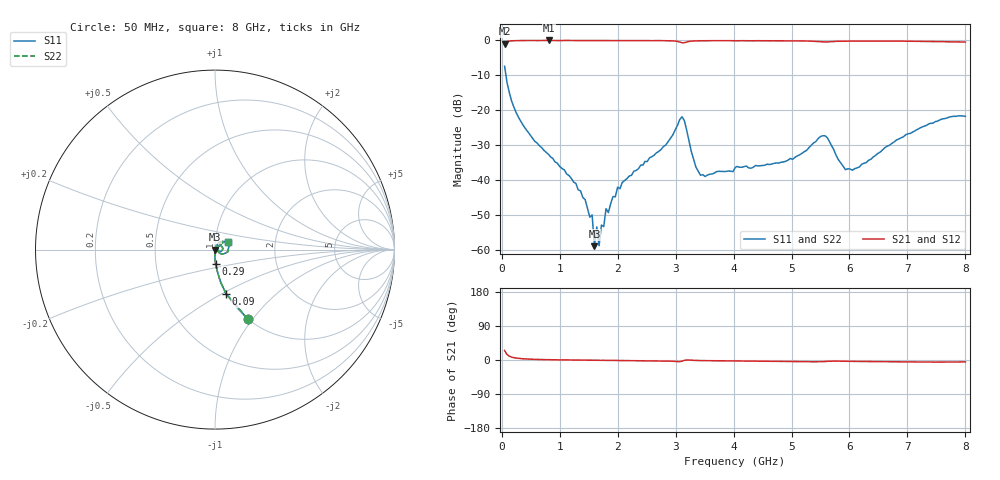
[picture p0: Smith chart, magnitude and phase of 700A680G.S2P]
!  American Technical Ceramics  Date:  3/13/98
!  One Norden Lane
!  Huntington Station,  NY.  11746-2102
!  Tel:  (516) 547-5700  Fax:  (516) 547-5748
!  Part Number  700A680G
!  Description: Porcelain, High Q, Low ESR
!  Application: Bypass, Coupling, Timing, Feedback
!  Tuning, Impedance Match, Blocking
# GHZ S DB R 50
! Freq  |S11|  S11 Ph  |S21|  S21 Ph  |S12|  S12 Ph  |S22|  S22 Ph
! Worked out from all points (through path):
!   201 points, 50 MHz to 8 GHz, reference 50 ohm
!   highest |S21| = 0.00 dB at 810 MHz (marker M1); lowest = -0.9 dB at 50 MHz (marker M2)
!   group delay of S21, straight-line fit = 3.06 ps
!   lowest |S11| = -58.8 dB at 1.6 GHz (marker M3), VSWR 1.00, Z = 50.1 - j0.0763 ohm
!   |S11| at or under -10 dB: 73.3 MHz to end of sweep
!   |S22| runs from -58.8 to -7.4 dB; largest |S21 - S12| = 0
!   S11 on the Smith chart (normalised r, x): 50 MHz: 1.00, -0.94; 90 MHz: 0.99, -0.53; 290 MHz: 0.99, -0.16; 8 GHz: 1.15, +0.10
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0.05  -7.39 -64.8  -0.90 25.0  -0.90 25.0  -7.39 -64.8
0.09  -11.87 -75.8  -0.31 14.6  -0.31 14.6  -11.87 -75.8
0.29  -21.97 -87.4  -0.04 4.4  -0.04 4.4  -21.97 -87.4
0.81  -32.60 -92.5  0.00 0.9  0.00 0.9  -32.60 -92.5
1.4  -44.90 -85.8  -0.02 -0.3  -0.02 -0.3  -44.90 -85.8
1.56  -49.89 -74.8  0.00 -0.7  0.00 -0.7  -49.89 -74.8
1.6  -58.81 -41.6  -0.01 -0.9  -0.01 -0.9  -58.81 -41.6
1.64  -53.30 -44.9  -0.02 -0.8  -0.02 -0.8  -53.30 -44.9
1.68  -58.69 47.9  -0.04 -0.8  -0.04 -0.8  -58.69 47.9
1.72  -52.76 11.7  -0.02 -0.8  -0.02 -0.8  -52.76 11.7
1.8  -48.09 47.0  -0.03 -1.1  -0.03 -1.1  -48.09 47.0
2  -41.93 67.2  -0.01 -1.2  -0.01 -1.2  -41.93 67.2
2.71  -31.73 67.5  -0.06 -2.5  -0.06 -2.5  -31.73 67.5
3.11  -21.82 14.8  -0.65 -3.2  -0.65 -3.2  -21.82 14.8
3.43  -38.53 -5.3  -0.09 -1.6  -0.09 -1.6  -38.53 -5.3
4.03  -36.31 45.7  -0.07 -2.5  -0.07 -2.5  -36.31 45.7
5.02  -33.98 49.8  -0.10 -3.9  -0.10 -3.9  -33.98 49.8
5.38  -29.31 39.3  -0.21 -4.7  -0.21 -4.7  -29.31 39.3
5.58  -27.25 5.2  -0.43 -4.0  -0.43 -4.0  -27.25 5.2
6.05  -37.09 9.4  -0.18 -3.6  -0.18 -3.6  -37.09 9.4
6.69  -29.99 44.6  -0.19 -4.5  -0.19 -4.5  -29.99 44.6
8  -21.70 30.6  -0.45 -4.9  -0.45 -4.9  -21.70 30.6
